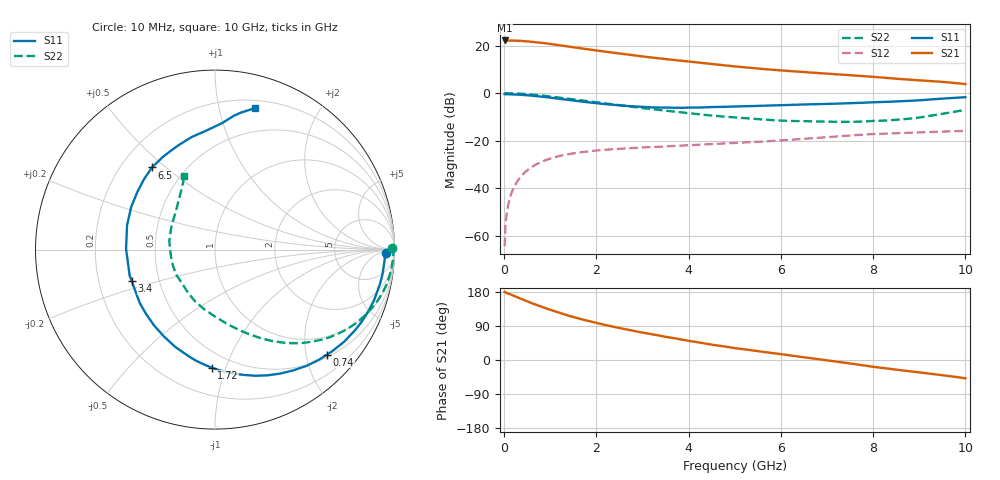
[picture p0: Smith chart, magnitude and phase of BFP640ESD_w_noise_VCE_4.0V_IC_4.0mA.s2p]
! Infineon Technologies  Discrete & RF Semiconductors
! BFP640ESD
! VCE =  4.0 V,  IC =  4.0 mA
! Common Emitter S-Parameters:  Jan 2016
# GHz  S  MA  R  50
!  f  S11  S21  S12  S22
! GHz  MAG  ANG  MAG  ANG  MAG  ANG  MAG  ANG
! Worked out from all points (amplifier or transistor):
!   233 points, 10 MHz to 10 GHz, reference 50 ohm
!   highest |S21| = 22.2 dB at 10 MHz (marker M1)
!   |S21| within 3 dB of that: start of sweep to 1.566 GHz
!   unconditionally stable (mu >= 1): start of sweep to 11.49 MHz; 4.85 GHz to 9.027 GHz
!   at 200 MHz: K = 0.11, MSG = 31.1 dB, |S12| = -40.2 dB
!   at 1.74 GHz: K = 0.40, MSG = 21.7 dB, |S12| = -24.7 dB
!   at 10 GHz: K = 0.80, MSG = 9.9 dB, |S12| = -15.9 dB
!   lowest NFmin = 0.56 dB at 450 MHz
!   S11 on the Smith chart (normalised r, x): 10 MHz: 34, -14; 740 MHz: 0.56, -2.42; 1.72 GHz: 0.39, -0.89; 3.4 GHz: 0.35, -0.16; 6.5 GHz: 0.33, +0.45; 10 GHz: 0.27, +1.29
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0.01  0.951 -1.2  12.82 179.7  0.0006 -5.2  0.9862 0.6
0.04  0.9466 -2.5  12.71 177.8  0.0022 73.6  0.994 -1.4
0.09  0.9452 -5.4  12.75 175.4  0.0045 79.8  0.9927 -3.2
0.2  0.9384 -12.0  12.74 169.9  0.0098 79.2  0.9871 -7.0
0.34  0.924 -20.3  12.59 162.9  0.0164 76.0  0.9735 -12.0
0.6  0.8843 -35.4  12.02 149.9  0.0278 68.1  0.9321 -20.5
0.74  0.8555 -43.1  11.64 143.6  0.0332 64.0  0.9047 -24.8
0.94  0.8145 -53.9  11.03 134.9  0.0401 58.5  0.8618 -30.6
1.2  0.7589 -67.4  10.22 124.4  0.0475 52.3  0.8033 -37.5
1.4  0.7159 -77.2  9.565 116.8  0.052 48.0  0.7578 -42.2
1.68  0.6642 -90.0  8.752 107.5  0.0572 43.0  0.7007 -48.0
1.72  0.6572 -91.7  8.635 106.2  0.0578 42.4  0.6931 -48.8
2.2  0.5854 -112.3  7.432 92.2  0.0643 36.3  0.6067 -57.4
2.58  0.5428 -128.2  6.64 82.2  0.0681 32.4  0.5434 -63.9
3  0.5143 -144.6  5.908 72.2  0.0716 29.4  0.4843 -71.1
3.4  0.4962 -159.3  5.326 63.5  0.0747 27.4  0.4376 -77.7
4  0.4955 179.5  4.628 50.6  0.08 24.9  0.3775 -89.0
5.1  0.5255 151.2  3.568 29.9  0.0901 20.8  0.3024 -113.4
6.5  0.5769 127.5  2.776 7.1  0.1089 16.2  0.257 -147.2
6.8  0.5849 122.5  2.65 2.4  0.1145 14.7  0.2522 -154.2
8.4  0.6605 95.2  2.043 -23.9  0.142 1.4  0.27 155.5
10  0.8195 74.2  1.551 -48.3  0.1603 -12.1  0.4428 112.6
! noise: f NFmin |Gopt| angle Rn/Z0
0.45  0.56  0.48  10  0.14
0.9  0.59  0.46  23  0.14
1.9  0.68  0.36  48  0.13
2.4  0.72  0.32  65  0.12
5.5  1.15  0.36  -147  0.14
10  2.27  0.65  -83  0.98
